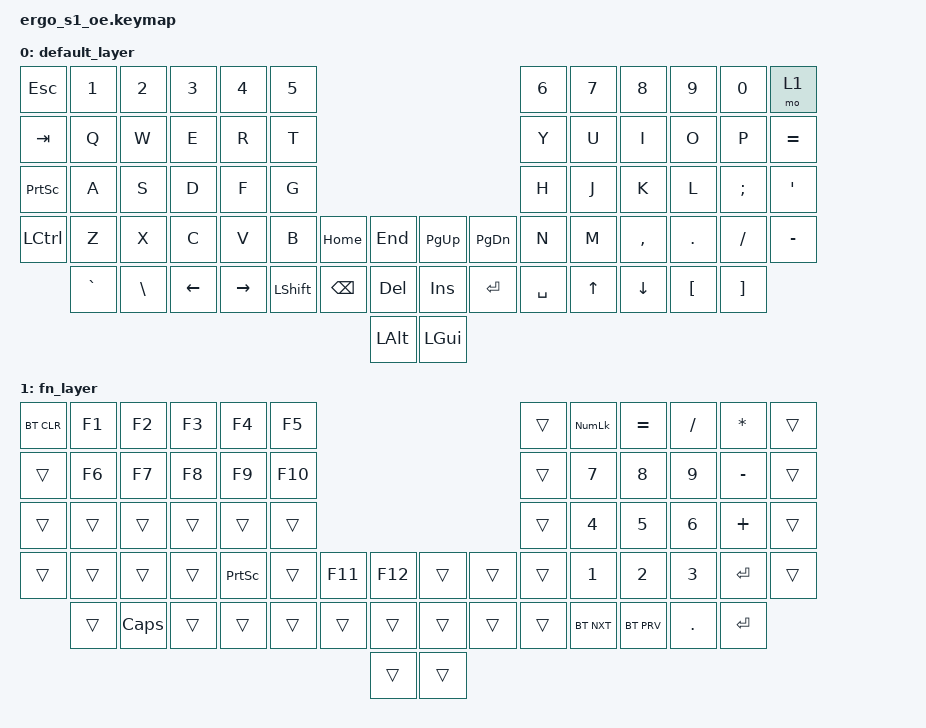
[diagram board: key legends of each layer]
/*
 * Copyright (c) 2021 The ZMK Contributors
 *
 * SPDX-License-Identifier: MIT
 */

#include <behaviors.dtsi>
#include <dt-bindings/zmk/keys.h>
#include <dt-bindings/zmk/bt.h>
#include <dt-bindings/zmk/ext_power.h>


 #define DEFAULT 0
 #define FN  1

/ {
       keymap {
              compatible = "zmk,keymap";

              default_layer {
// ---------------------------------------------------------------------------------------------------------------------------------
// | ESC  |  1   |  2   |  3   |  4   |  5   |                                                   |  6   |  7   |  8   |  9   |  0   | FN   |
// | TAB  |  Q   |  W   |  E   |  R   |  T   |                                                   |  Y   |  U   |  I   |  O   |  P   | EQL  |
// | PSCR |  A   |  S   |  D   |  F   |  G   |                                                   |  H   |  J   |  K   |  L   | SCLN | QUOT |
// | CTRL |  Z   |  X   |  C   |  V   |  B   |      | HOME | END  |         | PGUP | PGDN |      |  N   |  M   | COMM | DOT  | SLSH | MINS |
//        | GRV  | BSLS | LEFT | RGHT |      | SHFT | BSPS | DEL  |         | INS  | ENT  | SPC  |      |  UP  |  DN  | LBKT | RBKT |
//                                                         | ALT  |         | META |
                     bindings = <
        &kp ESC    &kp N1  &kp N2   &kp N3   &kp N4    &kp N5                                                                    &kp N6    &kp N7    &kp N8    &kp N9     &kp N0    &mo 1
        &kp TAB    &kp Q   &kp W    &kp E    &kp R     &kp T                                                                     &kp Y     &kp U     &kp I     &kp O      &kp P     &kp EQUAL
        &kp PSCRN  &kp A   &kp S    &kp D    &kp F     &kp G                                                                     &kp H     &kp J     &kp K     &kp L      &kp SEMI  &kp SQT
        &kp LCTRL  &kp Z   &kp X    &kp C    &kp V     &kp B               &kp HOME  &kp END      &kp PG_UP &kp PG_DN            &kp N     &kp M     &kp COMMA &kp PERIOD &kp SLASH &kp MINUS
                   &kp GRAVE &kp BSLH &kp LEFT &kp RIGHT         &kp LSHFT &kp BSPC  &kp DEL      &kp INS   &kp ENTER &kp SPACE            &kp UP    &kp DOWN  &kp LBKT   &kp RBKT
                                                                                     &kp LALT     &kp LGUI
                     >;
              };
              fn_layer {
// ---------------------------------------------------------------------------------------------------------------------------------
// |BT_CLR|  F1  |  F2  |  F3  |  F4  |  F5  |                                                   |      | NLCK |  =   |  /   |  *   | FN   |
// |      |  F6  |  F7  |  F8  |  F9  |  F10 |                                                   |      |  7   |  8   |  9   |  -   |      |
// |      |      |      |      |      |      |                                                   |      |  4   |  5   |  6   |  +   |      |
// |      |      |      |      |      | PTSC |      |      |      |         |      |      |      |      |  1   |  2   |  3   | ENT  |      |
//        |      | INS  |      |      |      |      |      |      |         |      |      |      |      |      |      |  .   | ENT  |
//                                                         |      |         |      |
                     bindings = <
        &bt BT_CLR &kp F1  &kp F2   &kp F3   &kp F4    &kp F5                                                                    &trans    &kp KP_NUM &kp EQL    &kp SLASH &kp STAR  &trans
        &trans     &kp F6  &kp F7   &kp F8   &kp F9    &kp F10                                                                   &trans    &kp N7     &kp N8     &kp N9    &kp MINUS &trans
        &trans     &trans  &trans   &trans   &trans    &trans                                                                    &trans    &kp N4     &kp N5     &kp N6    &kp PLUS  &trans
        &trans     &trans  &trans   &trans   &kp PSCRN &trans              &kp F11   &kp F12       &trans    &trans              &trans    &kp N1     &kp N2     &kp N3    &kp ENTER &trans
                   &trans  &kp CAPS &trans   &trans              &trans    &trans    &trans        &trans    &trans    &trans              &bt BT_NXT &bt BT_PRV &kp DOT   &kp ENTER
                                                                                     &trans        &trans
                     >;
              };

    };
};
